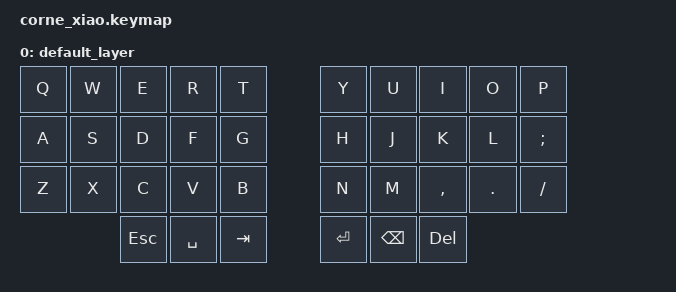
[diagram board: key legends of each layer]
/*
 * Copyright (c) 2020 The ZMK Contributors
 *
 * SPDX-License-Identifier: MIT
 *
 * 실제 키맵은 config/corne_xiao.keymap 참조
 * This is a placeholder - actual keymap is in config/corne_xiao.keymap
 */

#include <behaviors.dtsi>
#include <dt-bindings/zmk/keys.h>

/ {
    keymap {
        compatible = "zmk,keymap";

        default_layer {
            bindings = <
  &kp Q  &kp W  &kp E  &kp R  &kp T    &kp Y  &kp U  &kp I      &kp O    &kp P
  &kp A  &kp S  &kp D  &kp F  &kp G    &kp H  &kp J  &kp K      &kp L    &kp SEMI
  &kp Z  &kp X  &kp C  &kp V  &kp B    &kp N  &kp M  &kp COMMA  &kp DOT  &kp FSLH
               &kp ESC  &kp SPACE  &kp TAB    &kp RET  &kp BSPC  &kp DEL
            >;
        };
    };
};
